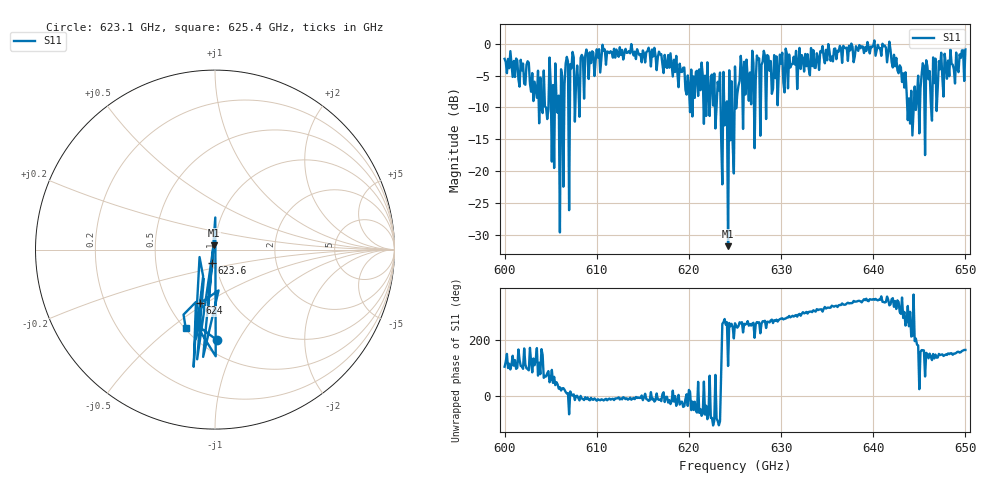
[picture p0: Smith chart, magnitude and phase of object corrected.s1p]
!Created with skrf (http://scikit-rf.org).
# GHz S MA R 50.0
!freq magS11 angS11
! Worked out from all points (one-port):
!   401 points, 600 GHz to 650 GHz, reference 50 ohm
!   lowest |S11| = -31.8 dB at 624.2 GHz (marker M1), VSWR 1.05, Z = 49.2 + j2.4 ohm
!   |S11| at or under -10 dB: 603.9926 GHz to 604.1416 GHz (149 MHz wide, 0.0247 % of centre); 604.4781 GHz to 604.7548 GHz (276.7 MHz wide, 0.0458 % of centre); 623.4407 GHz to 623.7106 GHz (269.9 MHz wide, 0.0433 % of centre) (the widest 3 of 35)
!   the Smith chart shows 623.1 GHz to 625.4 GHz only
!   S11 on the Smith chart (normalised r, x): 623.1 GHz: 0.61, -0.81; 623.6 GHz: 0.96, -0.15; 624 GHz: 0.72, -0.47; 625.4 GHz: 0.51, -0.57
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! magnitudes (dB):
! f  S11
! 600 GHz  -2.4
! 604.8 GHz  -10.3
! 606.2 GHz  -5.1
! 606.4 GHz  -22.5
! 607.2 GHz  -3.9
! 607.4 GHz  -1.3
! 607.9 GHz  -3.4
! 609 GHz  -1.6
! 612.5 GHz  -0.5
! 618.8 GHz  -4.6
! 619.2 GHz  -4.4
! 619.9 GHz  -5.0
! 621.1 GHz  -4.0
! 623.1 GHz  -6.0
! 623.6 GHz  -22.1
! 624 GHz  -10.2
! 624.2 GHz  -31.8
! 625 GHz  -3.6
! 625.4 GHz  -6.6
! 631.2 GHz  -3.2
! 637.5 GHz  -1.0
! 641.6 GHz  -1.3
! 643.2 GHz  -4.6
! 643.8 GHz  -12.0
! 644 GHz  -12.5
! 646 GHz  -5.6
! 646.6 GHz  -6.2
! 650 GHz  -0.9
